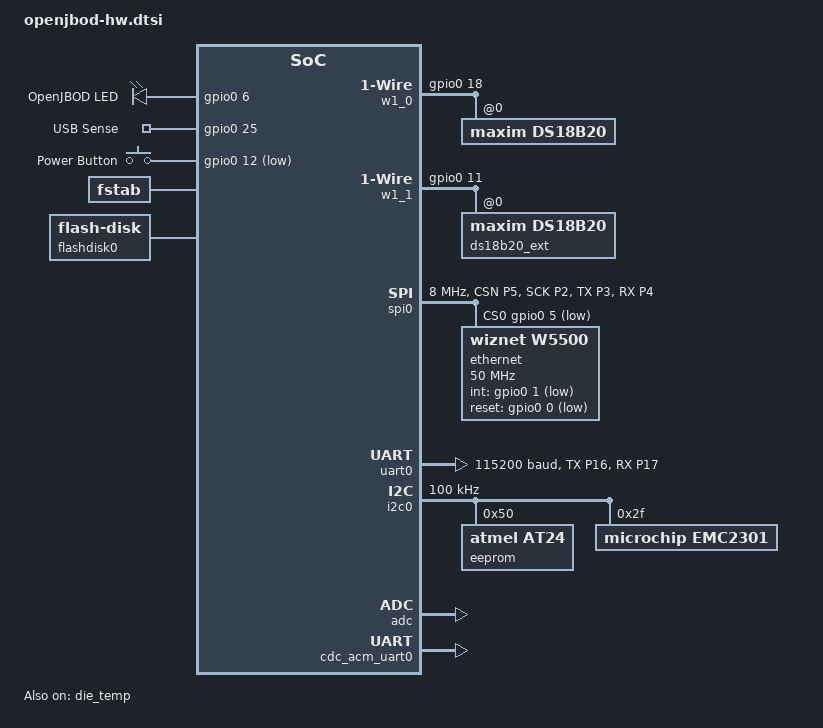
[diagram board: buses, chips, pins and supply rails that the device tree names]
/*
 * OpenJBOD Tank hardware description (everything except the flash partition
 * table, which differs between the plain and MCUboot builds). Shared by
 * boards/rpi_pico.overlay and boards/rpi_pico_rp2040_mcuboot.overlay.
 *
 * Board: OpenJBOD Rev5 Alpha2 pin configuration.
 *   W5500: GPIO0 (RSTn), GPIO1 (INTn), GPIO2 (SCK), GPIO3 (MOSI), GPIO4 (MISO), GPIO5 (CSn)
 *   I2C0:  GPIO8 (SDA), GPIO9 (SCL)
 *   UART:  GPIO16 (TX), GPIO17 (RX)
 */

#include <zephyr/dt-bindings/pinctrl/rpi-pico-rp2040-pinctrl.h>

&pinctrl {
	/* Override UART0 pinmux for OpenJBOD UART pins */
	uart0_openjbod: uart0_openjbod {
		group1 {
			pinmux = <UART0_TX_P16>;
		};
		group2 {
			pinmux = <UART0_RX_P17>;
			input-enable;
		};
	};

	/* Override SPI0 pinmux for OpenJBOD W5500 pins */
	spi0_openjbod: spi0_openjbod {
		group1 {
			pinmux = <SPI0_CSN_P5>, <SPI0_SCK_P2>, <SPI0_TX_P3>;
		};
		group2 {
			pinmux = <SPI0_RX_P4>;
			input-enable;
		};
	};

	/* Override I2C0 pinmux for OpenJBOD EEPROM/EMC2301 */
	i2c0_openjbod: i2c0_openjbod {
		group1 {
			pinmux = <I2C0_SDA_P8>, <I2C0_SCL_P9>;
			input-enable;
			input-schmitt-enable;
			bias-pull-up;
		};
	};
};

&spi0 {
	clock-frequency = <DT_FREQ_M(8)>;
	status = "okay";
	pinctrl-0 = <&spi0_openjbod>;
	pinctrl-names = "default";
	cs-gpios = <&gpio0 5 GPIO_ACTIVE_LOW>;

	ethernet: w5500@0 {
		compatible = "wiznet,w5500";
		reg = <0x0>;
		spi-max-frequency = <50000000>;
		int-gpios = <&gpio0 1 GPIO_ACTIVE_LOW>;
		reset-gpios = <&gpio0 0 GPIO_ACTIVE_LOW>;
		status = "okay";
	};
};

&uart0 {
	current-speed = <115200>;
	status = "okay";
	pinctrl-0 = <&uart0_openjbod>;
	pinctrl-names = "default";
};

&i2c0 {
	clock-frequency = <I2C_BITRATE_STANDARD>;
	status = "okay";
	pinctrl-0 = <&i2c0_openjbod>;
	pinctrl-names = "default";

	/* Microchip 24AA025E EEPROM containing MAC address */
	eeprom: eeprom@50 {
		compatible = "atmel,at24";
		reg = <0x50>;
		size = <256>;
		pagesize = <16>;
		address-width = <8>;
		timeout = <5>;
		status = "okay";
	};

	/* EMC2301 Fan Controller */
	emc2301: emc2301@2f {
		compatible = "microchip,emc2301";
		reg = <0x2f>;
		status = "okay";
	};
};

/ {
	leds {
		compatible = "gpio-leds";
		led0: led_0 {
			gpios = <&gpio0 6 GPIO_ACTIVE_HIGH>;
			label = "OpenJBOD LED";
		};
	};

	/* 1-Wire bus for DS18B20 temperature sensor on GPIO18 */
	w1_0: w1-gpio {
		compatible = "zephyr,w1-gpio";
		#address-cells = <1>;
		#size-cells = <0>;
		status = "okay";
		gpios = <&gpio0 18 (GPIO_PULL_UP | GPIO_ACTIVE_HIGH | GPIO_OPEN_DRAIN)>;

		ds18b20: ds18b20@0 {
			compatible = "maxim,ds18b20";
			reg = <0x0>;
			family-code = <0x28>;
			resolution = <9>;  /* 9-bit resolution for faster conversion */
			status = "okay";
		};
	};

	/* Second 1-Wire bus for the optional DS18B20 on the GPIO11 pin header.
	 * The probe may or may not be physically present; it is detected at boot.
	 */
	w1_1: w1-gpio-ext {
		compatible = "zephyr,w1-gpio";
		#address-cells = <1>;
		#size-cells = <0>;
		status = "okay";
		gpios = <&gpio0 11 (GPIO_PULL_UP | GPIO_ACTIVE_HIGH | GPIO_OPEN_DRAIN)>;

		ds18b20_ext: ds18b20@0 {
			compatible = "maxim,ds18b20";
			reg = <0x0>;
			family-code = <0x28>;
			resolution = <9>;  /* 9-bit resolution for faster conversion */
			status = "okay";
		};
	};

	/* GPIO nodes for power management */
	gpio_keys {
		compatible = "gpio-keys";
		usb_sense: usb_sense {
			gpios = <&gpio0 25 (GPIO_ACTIVE_HIGH)>;
			label = "USB Sense";
		};
		power_button: power_button {
			gpios = <&gpio0 12 (GPIO_ACTIVE_LOW | GPIO_PULL_UP)>;
			label = "Power Button";
		};
	};

	/* RP2040 ROSC entropy source (out-of-tree driver) for the CSPRNG. */
	rosc_rng: rosc-entropy {
		compatible = "raspberrypi,pico-rosc-entropy";
		status = "okay";
	};

	aliases {
		led0 = &led0;
		ds18b20 = &ds18b20;
		ds18b20-ext = &ds18b20_ext;
		emc2301 = &emc2301;
		usb-sense = &usb_sense;
		power-button = &power_button;
	};

	chosen {
		zephyr,settings-partition = &storage_partition;
		zephyr,entropy = &rosc_rng;
	};

	/* FATFS filesystem configuration for settings storage */
	fstab {
		compatible = "zephyr,fstab";
		settings_fs: settings_fs {
			compatible = "zephyr,fstab,fatfs";
			mount-point = "/settings";
			automount;
			disk-access;
		};
	};

	/* Flash disk driver using the settings partition */
	flashdisk0 {
		compatible = "zephyr,flash-disk";
		partition = <&storage_partition>;
		disk-name = "SETTINGS";
		cache-size = <4096>;
	};
};

/* Enable RP2040 onboard temperature sensor */
&die_temp {
	status = "okay";
};

/* Enable ADC for RP2040 temperature sensor */
&adc {
	status = "okay";
	#address-cells = <1>;
	#size-cells = <0>;
};

/* USB CDC-ACM function for the secondary shell/console over USB.
 * The board's USB device controller (zephyr_udc0) is already enabled in
 * rpi_pico-common.dtsi. The hardware UART0 remains the primary chosen
 * console/shell; this CDC-ACM device is an additional, independently
 * initialized backend (see src/usb_console.c).
 */
&zephyr_udc0 {
	cdc_acm_uart0: cdc_acm_uart0 {
		compatible = "zephyr,cdc-acm-uart";
	};
};
